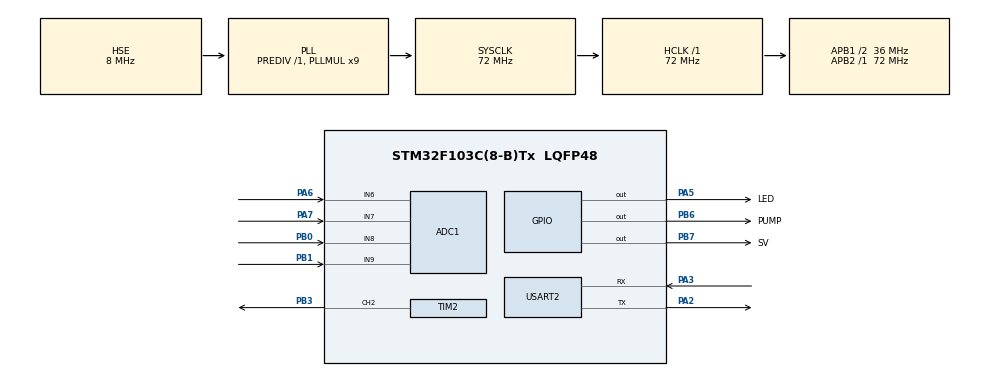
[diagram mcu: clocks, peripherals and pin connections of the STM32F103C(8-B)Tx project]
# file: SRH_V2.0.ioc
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ADC1.Channel-3\#ChannelRegularConversion=ADC_CHANNEL_6
ADC1.Channel-4\#ChannelRegularConversion=ADC_CHANNEL_7
ADC1.Channel-5\#ChannelRegularConversion=ADC_CHANNEL_8
ADC1.Channel-6\#ChannelRegularConversion=ADC_CHANNEL_9
ADC1.NbrOfConversion=4
ADC1.NbrOfConversionFlag=1
ADC1.Rank-3\#ChannelRegularConversion=1
ADC1.Rank-4\#ChannelRegularConversion=2
ADC1.Rank-5\#ChannelRegularConversion=3
ADC1.Rank-6\#ChannelRegularConversion=4
ADC1.SamplingTime-3\#ChannelRegularConversion=ADC_SAMPLETIME_1CYCLE_5
ADC1.SamplingTime-4\#ChannelRegularConversion=ADC_SAMPLETIME_1CYCLE_5
ADC1.SamplingTime-5\#ChannelRegularConversion=ADC_SAMPLETIME_1CYCLE_5
ADC1.SamplingTime-6\#ChannelRegularConversion=ADC_SAMPLETIME_1CYCLE_5
ADC1.master=1
Dma.ADC1.0.Direction=DMA_PERIPH_TO_MEMORY
Dma.ADC1.0.Instance=DMA1_Channel1
Dma.ADC1.0.MemDataAlignment=DMA_MDATAALIGN_WORD
Dma.ADC1.0.MemInc=DMA_MINC_ENABLE
Dma.ADC1.0.Mode=DMA_NORMAL
Dma.ADC1.0.PeriphDataAlignment=DMA_PDATAALIGN_WORD
Dma.ADC1.0.PeriphInc=DMA_PINC_DISABLE
Dma.ADC1.0.Priority=DMA_PRIORITY_LOW
Dma.Request0=ADC1
Dma.Request1=USART2_RX
Dma.Request2=USART2_TX
Dma.USART2_RX.1.Direction=DMA_PERIPH_TO_MEMORY
Dma.USART2_RX.1.Instance=DMA1_Channel6
Dma.USART2_RX.1.MemDataAlignment=DMA_MDATAALIGN_BYTE
Dma.USART2_RX.1.MemInc=DMA_MINC_ENABLE
Dma.USART2_RX.1.Mode=DMA_CIRCULAR
Dma.USART2_RX.1.PeriphDataAlignment=DMA_PDATAALIGN_BYTE
Dma.USART2_RX.1.PeriphInc=DMA_PINC_DISABLE
Dma.USART2_RX.1.Priority=DMA_PRIORITY_LOW
Dma.USART2_TX.2.Direction=DMA_MEMORY_TO_PERIPH
Dma.USART2_TX.2.Instance=DMA1_Channel7
Dma.USART2_TX.2.MemDataAlignment=DMA_MDATAALIGN_BYTE
Dma.USART2_TX.2.MemInc=DMA_MINC_ENABLE
Dma.USART2_TX.2.Mode=DMA_NORMAL
Dma.USART2_TX.2.PeriphDataAlignment=DMA_PDATAALIGN_BYTE
Dma.USART2_TX.2.PeriphInc=DMA_PINC_DISABLE
Dma.USART2_TX.2.Priority=DMA_PRIORITY_LOW
Mcu.Family=STM32F1
Mcu.Name=STM32F103C(8-B)Tx
Mcu.Package=LQFP48
NVIC.DMA1_Channel1_IRQn=true\:0\:0\:false\:false\:true\:false\:true\:true
NVIC.DMA1_Channel6_IRQn=true\:1\:0\:true\:false\:true\:false\:true\:true
NVIC.DMA1_Channel7_IRQn=true\:1\:0\:true\:false\:true\:false\:true\:true
NVIC.PriorityGroup=NVIC_PRIORITYGROUP_4
NVIC.TIM3_IRQn=true\:0\:0\:false\:false\:true\:true\:true\:true
NVIC.USART2_IRQn=true\:1\:0\:true\:false\:true\:true\:true\:true
PA13.Mode=Serial_Wire
PA13.Signal=SYS_JTMS-SWDIO
PA14.Mode=Serial_Wire
PA14.Signal=SYS_JTCK-SWCLK
PA2.Mode=Asynchronous
PA2.Signal=USART2_TX
PA3.Mode=Asynchronous
PA3.Signal=USART2_RX
PA5.GPIO_Label=LED
PA5.GPIO_PuPd=GPIO_PULLDOWN
PA5.Signal=GPIO_Output
PA6.Signal=ADCx_IN6
PA7.Signal=ADCx_IN7
PB0.Signal=ADCx_IN8
PB1.Signal=ADCx_IN9
PB3.Signal=S_TIM2_CH2
PB6.GPIO_Label=PUMP
PB6.GPIO_ModeDefaultOutputPP=GPIO_MODE_OUTPUT_PP
PB6.GPIO_PuPd=GPIO_PULLDOWN
PB6.GPIO_Speed=GPIO_SPEED_FREQ_LOW
PB6.PinState=GPIO_PIN_SET
PB6.Signal=GPIO_Output
PB7.GPIO_Label=SV
PB7.GPIO_ModeDefaultOutputPP=GPIO_MODE_OUTPUT_PP
PB7.GPIO_PuPd=GPIO_PULLDOWN
PB7.PinState=GPIO_PIN_SET
PB7.Signal=GPIO_Output
PD0-OSC_IN.Mode=HSE-External-Oscillator
PD0-OSC_IN.Signal=RCC_OSC_IN
PD1-OSC_OUT.Mode=HSE-External-Oscillator
PD1-OSC_OUT.Signal=RCC_OSC_OUT
ProjectManager.HeapSize=0x200
ProjectManager.StackSize=0x400
ProjectManager.TargetToolchain=MDK-ARM V5.32
RCC.ADCPresc=RCC_ADCPCLK2_DIV6
RCC.AHBFreq_Value=72000000
RCC.APB1CLKDivider=RCC_HCLK_DIV2
RCC.APB1Freq_Value=36000000
RCC.APB1TimFreq_Value=72000000
RCC.APB2Freq_Value=72000000
RCC.APB2TimFreq_Value=72000000
RCC.HCLKFreq_Value=72000000
RCC.PLLMUL=RCC_PLL_MUL9
RCC.PLLSourceVirtual=RCC_PLLSOURCE_HSE
RCC.SYSCLKFreq_VALUE=72000000
RCC.SYSCLKSource=RCC_SYSCLKSOURCE_PLLCLK
RCC.USBFreq_Value=72000000
SH.ADCx_IN6.0=ADC1_IN6,IN6
SH.ADCx_IN7.0=ADC1_IN7,IN7
SH.ADCx_IN8.0=ADC1_IN8,IN8
SH.ADCx_IN9.0=ADC1_IN9,IN9
SH.S_TIM2_CH2.0=TIM2_CH2,PWM Generation2 CH2
TIM2.AutoReloadPreload=TIM_AUTORELOAD_PRELOAD_ENABLE
TIM2.Channel-PWM\ Generation2\ CH2=TIM_CHANNEL_2
TIM2.Period=4999
TIM2.Prescaler=71
TIM3.Period=1000-1
TIM3.Prescaler=72-1
USART2.VirtualMode=VM_ASYNC
VP_TIM3_VS_ClockSourceINT.Mode=Internal
board=custom

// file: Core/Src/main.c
/* USER CODE BEGIN Header */
/**
  ******************************************************************************
  * @file           : main.c
  * @brief          : Main program body
  ******************************************************************************
  * @attention
  *
  * Copyright (c) 2023 STMicroelectronics.
  * All rights reserved.
  *
  * This software is licensed under terms that can be found in the LICENSE file
  * in the root directory of this software component.
  * If no LICENSE file comes with this software, it is provided AS-IS.
  *
  ******************************************************************************
  */
/* USER CODE END Header */
#include "main.h"
#include "adc.h"
#include "dma.h"
#include "tim.h"
#include "usart.h"
#include "gpio.h"

/* USER CODE BEGIN Includes */
#include "debug.h"
/* USER CODE END Includes */

void SystemClock_Config(void);

/* USER CODE BEGIN 0 */
extern const uint16_t BufferSize;  //可以接收的最大字符个数
extern uint8_t ReceiveBuff[]; //接收缓冲区
extern uint8_t task;

void My_task(uint8_t numb)
{
	switch(numb)
		{
			//无任务
			case 0:
				task = 0;
			break;
			//抓取碗
			case 1:
				HAL_GPIO_WritePin(SV_GPIO_Port, SV_Pin, GPIO_PIN_RESET);
				HAL_GPIO_WritePin(PUMP_GPIO_Port, PUMP_Pin, GPIO_PIN_RESET);
				HAL_Delay(500);
				TIM2->CCR2=2000;
				HAL_Delay(3000);
				task = 0;
			break;
			//抓取葡萄
			case 2:
				HAL_GPIO_WritePin(SV_GPIO_Port, SV_Pin, GPIO_PIN_RESET);
				HAL_GPIO_WritePin(PUMP_GPIO_Port, PUMP_Pin, GPIO_PIN_RESET);
				HAL_Delay(500);
				TIM2->CCR2=1700;
				HAL_Delay(3000);
				task = 0;
			break;
			//抓取薯片包装
			case 3:
				HAL_GPIO_WritePin(SV_GPIO_Port, SV_Pin, GPIO_PIN_RESET);
				HAL_GPIO_WritePin(PUMP_GPIO_Port, PUMP_Pin, GPIO_PIN_RESET);
				HAL_Delay(500);
				TIM2->CCR2=1700;
				HAL_Delay(3000);
				task = 0;
			break;
			//抓取重物
			case 4:
				HAL_GPIO_WritePin(SV_GPIO_Port, SV_Pin, GPIO_PIN_RESET);
				HAL_GPIO_WritePin(PUMP_GPIO_Port, PUMP_Pin, GPIO_PIN_RESET);
				HAL_Delay(500);
				TIM2->CCR2=1700;
				HAL_Delay(1500);
				HAL_GPIO_WritePin(SV_GPIO_Port, SV_Pin, GPIO_PIN_SET);
				HAL_GPIO_WritePin(PUMP_GPIO_Port, PUMP_Pin, GPIO_PIN_SET);
				task = 0;
			break;
			//打开抓手
			case 5:
				HAL_GPIO_WritePin(SV_GPIO_Port, SV_Pin, GPIO_PIN_RESET);
				HAL_GPIO_WritePin(PUMP_GPIO_Port, PUMP_Pin, GPIO_PIN_RESET);
				HAL_Delay(500);
				TIM2->CCR2=2570;
				HAL_Delay(3000);
				task = 0;
			break;
			//等待
			case 6:
				task = 0;
			break;
		}
}
/* USER CODE END 0 */

int main(void)
{

  /* MCU Configuration--------------------------------------------------------*/

  /* Reset of all peripherals, Initializes the Flash interface and the Systick. */
  HAL_Init();

  /* Configure the system clock */
  SystemClock_Config();

  /* Initialize all configured peripherals */
  MX_GPIO_Init();
  MX_DMA_Init();
  MX_TIM2_Init();
  MX_ADC1_Init();
  MX_TIM3_Init();
  MX_USART2_UART_Init();
  /* USER CODE BEGIN 2 */
	//气泵和电磁阀不工作
	HAL_GPIO_WritePin(SV_GPIO_Port, SV_Pin, GPIO_PIN_RESET);
	HAL_GPIO_WritePin(PUMP_GPIO_Port, PUMP_Pin, GPIO_PIN_RESET);
	//使能串口中断
	__HAL_UART_ENABLE_IT(&huart2, UART_IT_IDLE);//使能串口 IDLE中断
	HAL_UART_Receive_DMA(&huart2, ReceiveBuff, BufferSize);//使能接收

	HAL_TIM_Base_Start_IT(&htim3);    //启动定时器
	printf("SRH Test \r\n");

	TIM2->CCR2=2570;   //500-2600
	HAL_TIM_PWM_Start(&htim2, TIM_CHANNEL_2);

  /* USER CODE END 2 */

  /* Infinite loop */
  while (1)
  {

    /* USER CODE BEGIN 3 */
		My_task(task);
//		HAL_Delay(1000);
//		printf("Task: %d;\r\n", task);
  }
  /* USER CODE END 3 */
}

void SystemClock_Config(void)
{
  RCC_OscInitTypeDef RCC_OscInitStruct = {0};
  RCC_ClkInitTypeDef RCC_ClkInitStruct = {0};
  RCC_PeriphCLKInitTypeDef PeriphClkInit = {0};

  /** Initializes the RCC Oscillators according to the specified parameters
  * in the RCC_OscInitTypeDef structure.
  */
  RCC_OscInitStruct.OscillatorType = RCC_OSCILLATORTYPE_HSE;
  RCC_OscInitStruct.HSEState = RCC_HSE_ON;
  RCC_OscInitStruct.HSEPredivValue = RCC_HSE_PREDIV_DIV1;
  RCC_OscInitStruct.HSIState = RCC_HSI_ON;
  RCC_OscInitStruct.PLL.PLLState = RCC_PLL_ON;
  RCC_OscInitStruct.PLL.PLLSource = RCC_PLLSOURCE_HSE;
  RCC_OscInitStruct.PLL.PLLMUL = RCC_PLL_MUL9;
  if (HAL_RCC_OscConfig(&RCC_OscInitStruct) != HAL_OK)
  {
    Error_Handler();
  }

  /** Initializes the CPU, AHB and APB buses clocks
  */
  RCC_ClkInitStruct.ClockType = RCC_CLOCKTYPE_HCLK|RCC_CLOCKTYPE_SYSCLK
                              |RCC_CLOCKTYPE_PCLK1|RCC_CLOCKTYPE_PCLK2;
  RCC_ClkInitStruct.SYSCLKSource = RCC_SYSCLKSOURCE_PLLCLK;
  RCC_ClkInitStruct.AHBCLKDivider = RCC_SYSCLK_DIV1;
  RCC_ClkInitStruct.APB1CLKDivider = RCC_HCLK_DIV2;
  RCC_ClkInitStruct.APB2CLKDivider = RCC_HCLK_DIV1;

  if (HAL_RCC_ClockConfig(&RCC_ClkInitStruct, FLASH_LATENCY_2) != HAL_OK)
  {
    Error_Handler();
  }
  PeriphClkInit.PeriphClockSelection = RCC_PERIPHCLK_ADC;
  PeriphClkInit.AdcClockSelection = RCC_ADCPCLK2_DIV6;
  if (HAL_RCCEx_PeriphCLKConfig(&PeriphClkInit) != HAL_OK)
  {
    Error_Handler();
  }
}

void Error_Handler(void)
{
  __disable_irq();
  while (1)
  {
  }
}
